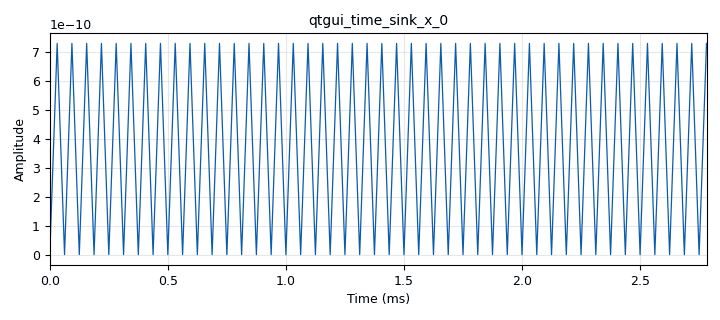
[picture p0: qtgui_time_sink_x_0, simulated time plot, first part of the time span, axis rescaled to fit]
options:
  parameters:
    author: sleepwalker
    generate_options: qt_gui
    id: lab1_2
    output_language: python
    title: Not titled yet
  states: {}

blocks:
- name: freq
  id: variable
  parameters:
    value: 8e3
  states: {}
- name: samp_rate
  id: variable
  parameters:
    value: '32000'
  states: {}
- name: variable_0
  id: variable
  parameters:
    value: '0'
  states: {}
- name: analog_sig_source_x_0
  id: analog_sig_source_x
  parameters:
    amp: '1'
    freq: freq
    offset: '0'
    phase: '0'
    samp_rate: samp_rate
    type: float
    waveform: analog.GR_COS_WAVE
  states: {}
- name: analog_sig_source_x_0_0
  id: analog_sig_source_x
  parameters:
    amp: '1'
    freq: freq
    offset: '0'
    phase: '0'
    samp_rate: samp_rate
    type: float
    waveform: analog.GR_COS_WAVE
  states: {}
- name: blocks_add_xx_0
  id: blocks_add_xx
  parameters:
    type: float
  states: {}
- name: blocks_delay_0
  id: blocks_delay
  parameters:
    delay: '2'
    type: float
  states: {}
- name: blocks_throttle_0
  id: blocks_throttle
  parameters:
    samples_per_second: samp_rate
    type: float
  states: {}
- name: qtgui_time_sink_x_0
  id: qtgui_time_sink_x
  parameters:
    size: '1024'
    srate: samp_rate
    type: float
  states: {}

connections:
- [analog_sig_source_x_0, '0', blocks_delay_0, '0']
- [analog_sig_source_x_0_0, '0', blocks_add_xx_0, '1']
- [blocks_add_xx_0, '0', blocks_throttle_0, '0']
- [blocks_delay_0, '0', blocks_add_xx_0, '0']
- [blocks_throttle_0, '0', qtgui_time_sink_x_0, '0']

metadata:
  file_format: 1
